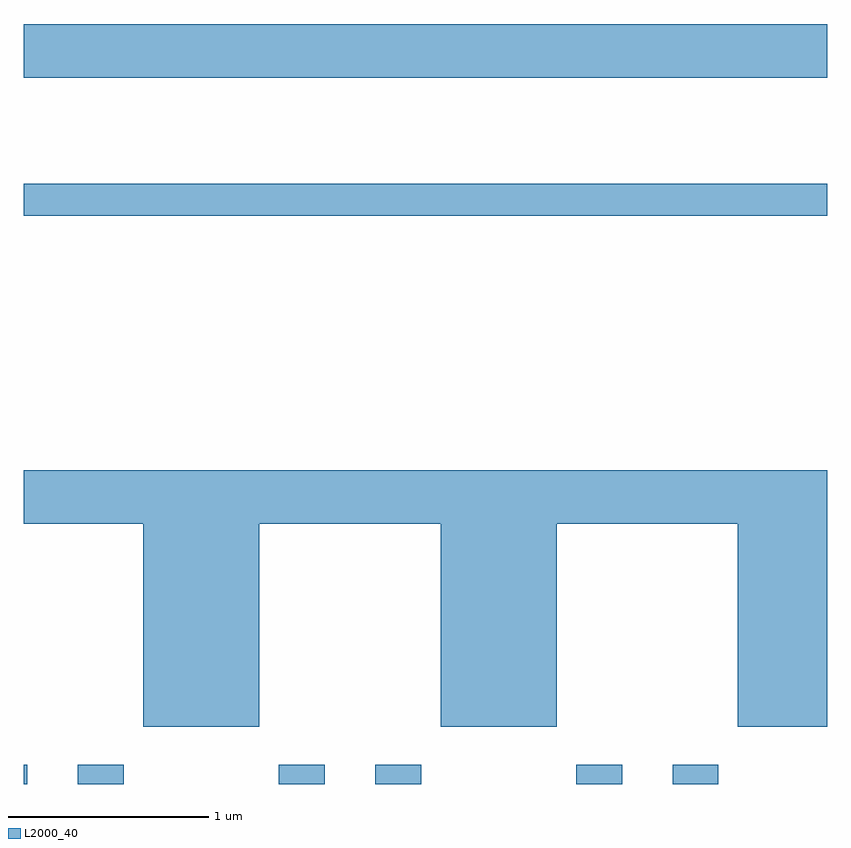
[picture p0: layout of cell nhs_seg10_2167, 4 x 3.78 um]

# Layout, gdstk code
import gdstk
lib = gdstk.Library(unit=1e-6, precision=1e-09)
def R(c, l, rs):  # rectangles x0, y0, x1, y1
    for r in rs: c.add(gdstk.rectangle(r[:2], r[2:], *l))
def P(c, l, *ps):  # polygons
    for p in ps: c.add(gdstk.Polygon(p, *l))
L2000_40 = (2000, 40)

nhs_seg10_2167 = lib.new_cell('nhs_seg10_2167')
R(nhs_seg10_2167, L2000_40, [(247.611,2212.522,247.629,2212.619), (247.881,2212.522,248.109,2212.619), (248.881,2212.522,249.109,2212.619), (249.361,2212.522,249.589,2212.619), (250.361,2212.522,250.589,2212.619), (250.841,2212.522,251.069,2212.619), (247.611,2215.351,251.611,2215.509), (247.611,2216.036,251.611,2216.304)])
P(nhs_seg10_2167, L2000_40, [(248.784,2213.816),(249.686,2213.816),(249.686,2212.806),(250.264,2212.806),(250.264,2213.816),(251.166,2213.816),(251.166,2212.806),(251.611,2212.806),(251.611,2214.084),(247.611,2214.084),(247.611,2213.816),(248.206,2213.816),(248.206,2212.806),(248.784,2212.806)])

lib.write_gds('nhs_seg10_2167.gds')
